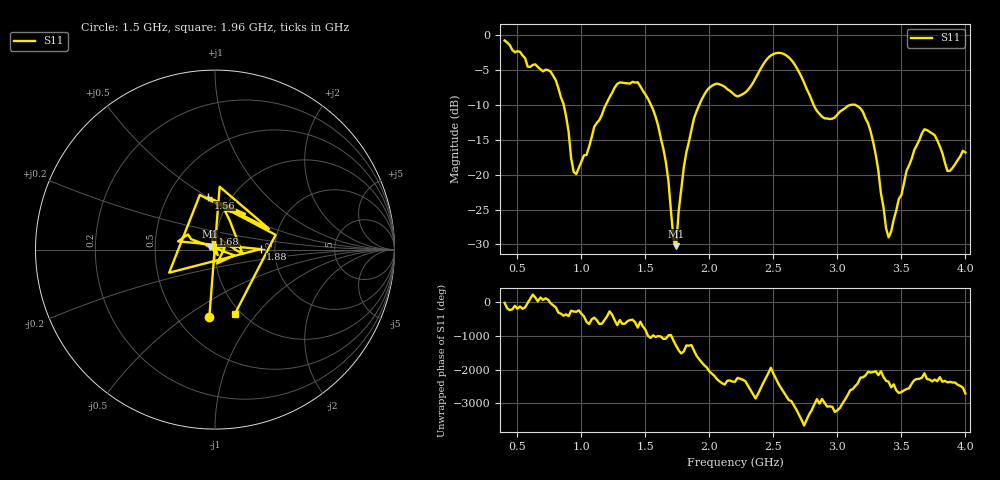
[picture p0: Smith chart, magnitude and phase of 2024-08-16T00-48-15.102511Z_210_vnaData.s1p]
!Created with skrf (http://scikit-rf.org).
# Hz S RI R 50.0
!freq ReS11 ImS11
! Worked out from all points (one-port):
!   181 points, 400 MHz to 4 GHz, reference 50 ohm
!   lowest |S11| = -30.2 dB at 1.74 GHz (marker M1), VSWR 1.06, Z = 47.4 + j1.52 ohm
!   |S11| at or under -10 dB: 862.2 MHz to 1.19 GHz (327.4 MHz wide, 31.9 % of centre); 1.544 GHz to 1.92 GHz (376.1 MHz wide, 21.7 % of centre); 3.144 GHz to end of sweep (the widest 3 of 4)
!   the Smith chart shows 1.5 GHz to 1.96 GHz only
!   S11 on the Smith chart (normalised r, x): 1.5 GHz: 0.71, -0.62; 1.56 GHz: 0.78, +0.50; 1.68 GHz: 0.96, +0.17; 1.88 GHz: 1.68, +0.01; 1.96 GHz: 0.93, -0.78
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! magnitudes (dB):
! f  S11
! 400 MHz  -0.7
! 760 MHz  -5.2
! 860 MHz  -9.8
! 920 MHz  -17.7
! 960 MHz  -19.9
! 1.3 GHz  -6.8
! 1.5 GHz  -8.5
! 1.56 GHz  -10.6
! 1.68 GHz  -20.9
! 1.72 GHz  -29.3
! 1.74 GHz  -30.2
! 1.76 GHz  -25.2
! 1.8 GHz  -18.9
! 1.88 GHz  -11.9
! 1.96 GHz  -8.5
! 2.06 GHz  -6.9
! 2.2 GHz  -8.6
! 2.5 GHz  -2.7
! 2.66 GHz  -4.0
! 2.88 GHz  -11.7
! 3.1 GHz  -10.0
! 3.26 GHz  -13.8
! 3.4 GHz  -29.0
! 3.56 GHz  -18.7
! 3.68 GHz  -13.5
! 3.76 GHz  -14.3
! 3.86 GHz  -19.5
! 4 GHz  -16.8
